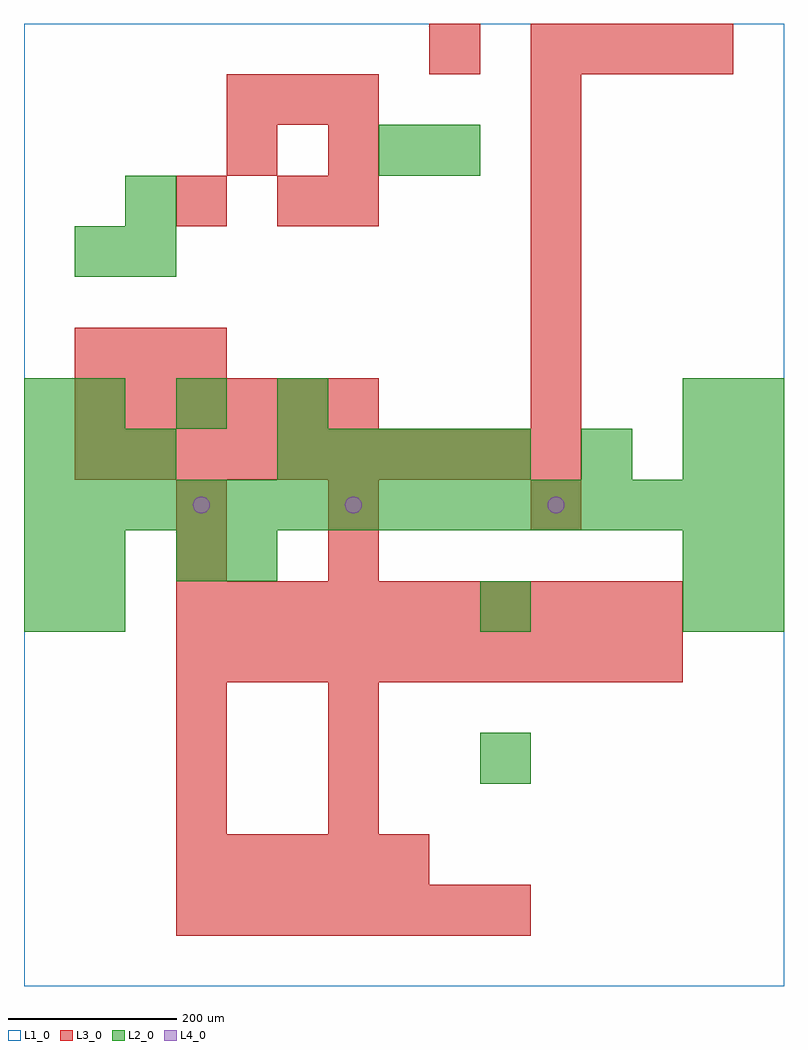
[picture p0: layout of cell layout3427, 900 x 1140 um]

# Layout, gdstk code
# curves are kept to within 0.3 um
import gdstk
lib = gdstk.Library(unit=1e-6, precision=1e-09)
def R(c, l, rs):  # rectangles x0, y0, x1, y1
    for r in rs: c.add(gdstk.rectangle(r[:2], r[2:], *l))
def A(c, l, x, y, w, h, nx, ny, dx, dy):  # array of equal rectangles
    R(c, l, [(x+i*dx, y+j*dy, x+i*dx+w, y+j*dy+h) for i in range(nx) for j in range(ny)])
def P(c, l, *ps):  # polygons
    for p in ps: c.add(gdstk.Polygon(p, *l))
L1_0 = (1, 0)
L2_0 = (2, 0)
L3_0 = (3, 0)
L4_0 = (4, 0)

layout3427 = lib.new_cell('layout3427')
R(layout3427, L1_0, [(0,0,900,1140)])
A(layout3427, L2_0, 0, 540, 60, 60, 15, 1, 60, 0)
A(layout3427, L2_0, 0, 600, 60, 60, 3, 1, 60, 0)
A(layout3427, L2_0, 300, 600, 60, 60, 5, 1, 60, 0)
A(layout3427, L2_0, 60, 660, 60, 60, 3, 1, 120, 0)
R(layout3427, L2_0, [(540,240,600,300), (0,420,60,480), (60,420,120,480), (540,420,600,480), (780,420,840,480), (840,420,900,480), (0,480,60,540), (60,480,120,540), (180,480,240,540), (240,480,300,540), (780,480,840,540), (840,480,900,540), (660,600,720,660), (780,600,840,660), (840,600,900,660), (0,660,60,720), (780,660,840,720), (840,660,900,720), (60,840,120,900), (120,840,180,900), (120,900,180,960), (420,960,480,1020), (480,960,540,1020)])
A(layout3427, L3_0, 180, 60, 60, 60, 7, 1, 60, 0)
A(layout3427, L3_0, 180, 120, 60, 60, 5, 1, 60, 0)
A(layout3427, L3_0, 180, 180, 60, 60, 1, 3, 0, 60)
A(layout3427, L3_0, 360, 180, 60, 60, 1, 3, 0, 60)
A(layout3427, L3_0, 180, 360, 60, 60, 10, 2, 60, 60)
A(layout3427, L3_0, 60, 600, 60, 60, 10, 1, 60, 0)
A(layout3427, L3_0, 60, 660, 60, 60, 6, 1, 60, 0)
A(layout3427, L3_0, 600, 660, 60, 60, 1, 7, 0, 60)
A(layout3427, L3_0, 60, 720, 60, 60, 3, 1, 60, 0)
A(layout3427, L3_0, 240, 1020, 60, 60, 3, 1, 60, 0)
A(layout3427, L3_0, 600, 1080, 60, 60, 4, 1, 60, 0)
R(layout3427, L3_0, [(180,480,240,540), (360,480,420,540), (180,540,240,600), (360,540,420,600), (600,540,660,600), (180,900,240,960), (300,900,360,960), (360,900,420,960), (240,960,300,1020), (360,960,420,1020), (480,1080,540,1140)])
P(layout3427, L4_0, [(220,570),(219.239,573.827),(217.071,577.071),(213.827,579.239),(210,580),(206.173,579.239),(202.929,577.071),(200.761,573.827),(200,570),(200.761,566.173),(202.929,562.929),(206.173,560.761),(210,560),(213.827,560.761),(217.071,562.929),(219.239,566.173)],
  [(400,570),(399.239,573.827),(397.071,577.071),(393.827,579.239),(390,580),(386.173,579.239),(382.929,577.071),(380.761,573.827),(380,570),(380.761,566.173),(382.929,562.929),(386.173,560.761),(390,560),(393.827,560.761),(397.071,562.929),(399.239,566.173)],
  [(640,570),(639.239,573.827),(637.071,577.071),(633.827,579.239),(630,580),(626.173,579.239),(622.929,577.071),(620.761,573.827),(620,570),(620.761,566.173),(622.929,562.929),(626.173,560.761),(630,560),(633.827,560.761),(637.071,562.929),(639.239,566.173)])

lib.write_gds('layout3427.gds')
